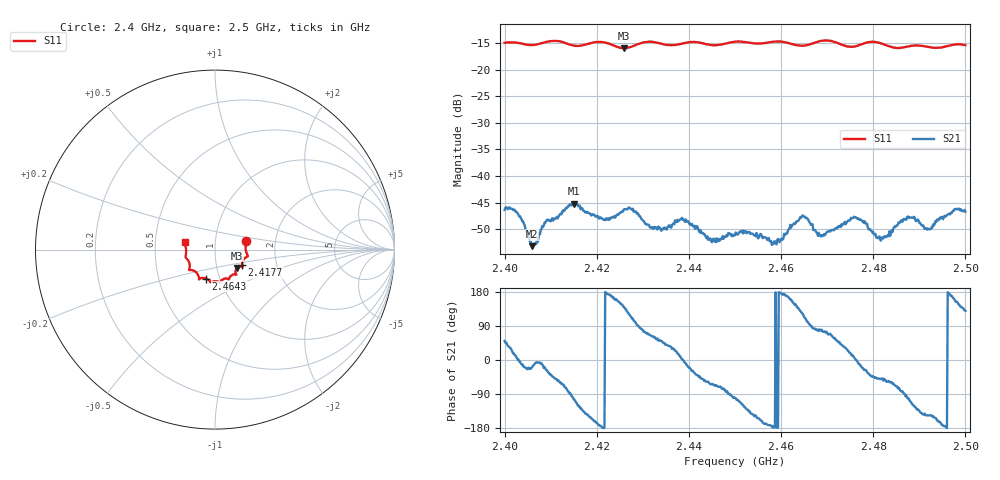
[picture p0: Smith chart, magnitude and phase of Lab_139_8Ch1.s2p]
# Hz S RI R
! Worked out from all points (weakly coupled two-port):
!   601 points, 2.4 GHz to 2.5 GHz, reference 50 ohm
!   highest |S21| = -45.20 dB at 2.415 GHz (marker M1); lowest = -53.2 dB at 2.406 GHz (marker M2)
!   lowest |S11| = -16.0 dB at 2.4258 GHz (marker M3), VSWR 1.38, Z = 62.4 - j13.1 ohm
!   |S11| at or under -10 dB: start of sweep to end of sweep
!   S12 and S22 are empty: the file has one direction only
!   S11 on the Smith chart (normalised r, x): 2.4 GHz: 1.41, +0.14; 2.4177 GHz: 1.33, -0.23; 2.4643 GHz: 0.86, -0.29; 2.5 GHz: 0.71, +0.06
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2.4e9  0.1728 0.0481  0.00305 0.00369  0 0  0 0
2.403e9  0.1755 0.035  0.00432 0.000125  0 0  0 0
2.406e9  0.1708 0.003  0.00207 -0.00069  0 0  0 0
2.409167e9  0.1809 -0.0302  0.00342 -0.00174  0 0  0 0
2.415e9  0.1598 -0.0545  -0.00132 -0.00534  0 0  0 0
2.416667e9  0.1523 -0.0732  -0.00312 -0.00393  0 0  0 0
2.417667e9  0.1512 -0.0846  -0.00358 -0.00279  0 0  0 0
2.425833e9  0.1222 -0.1024  -0.00367 0.00309  0 0  0 0
2.433333e9  0.1139 -0.1376  0.00207 0.00262  0 0  0 0
2.438333e9  0.0805 -0.1558  0.00394 0.000298  0 0  0 0
2.444667e9  0.0591 -0.1608  0.00113 -0.00232  0 0  0 0
2.45e9  0.028 -0.1817  -0.000486 -0.00272  0 0  0 0
2.4585e9  -0.022 -0.1825  -0.00242 -9.26e-05  0 0  0 0
2.464333e9  -0.0493 -0.1611  -0.0024 0.00324  0 0  0 0
2.466667e9  -0.076 -0.1586  8.06e-05 0.0035  0 0  0 0
2.469e9  -0.0892 -0.1655  0.000689 0.00262  0 0  0 0
2.476167e9  -0.1177 -0.1176  0.00409 9.7e-05  0 0  0 0
2.481167e9  -0.1437 -0.1084  0.00174 -0.00199  0 0  0 0
2.483333e9  -0.1405 -0.0904  0.00154 -0.00222  0 0  0 0
2.487833e9  -0.1595 -0.0494  -0.00112 -0.00395  0 0  0 0
2.492e9  -0.1619 -0.026  -0.00261 -0.00176  0 0  0 0
2.5e9  -0.1646 0.0438  -0.00294 0.00354  0 0  0 0
